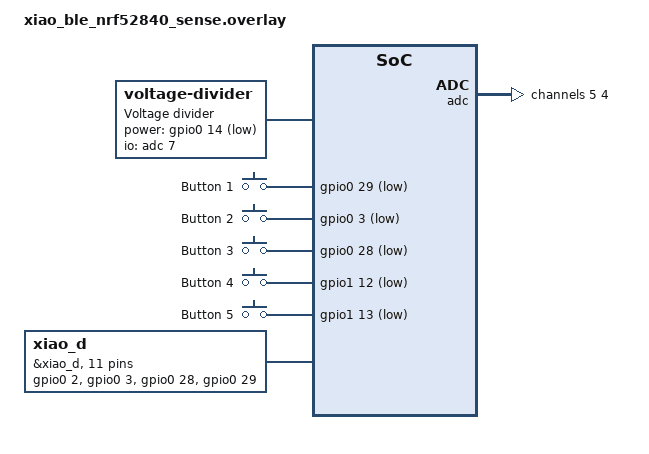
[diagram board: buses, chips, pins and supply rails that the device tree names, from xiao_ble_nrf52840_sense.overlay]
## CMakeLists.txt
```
#
# Copyright (c) 2018 Nordic Semiconductor
#
# SPDX-License-Identifier: LicenseRef-Nordic-5-Clause
#
cmake_minimum_required(VERSION 3.20.0)

find_package(Zephyr REQUIRED HINTS $ENV{ZEPHYR_BASE})
project(ToyRemote)

include_directories(${CMAKE_CURRENT_LIST_DIR}/../common)

# NORDIC SDK APP START
target_sources(app PRIVATE src/main.c
                           ../common/app_state.c
                           src/ble_modul.c
                           src/but_modul.c
                           ../common/haptic_modul.c
                           ../common/bat_measures_modul.c
                           ../common/battery.c
                           ../common/pwm_effects.c
                           )
# NORDIC SDK APP END
```

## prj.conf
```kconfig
#
# Copyright (c) 2019 Nordic Semiconductor ASA
#
# SPDX-License-Identifier: LicenseRef-Nordic-5-Clause
#
# --- Bluetooth (BLE) Only Configuration ---
CONFIG_BT=y
CONFIG_BT_CENTRAL=y
CONFIG_BT_DEVICE_NAME="ToyRemote_BLE"
CONFIG_BT_ZEPHYR_NUS=y
CONFIG_BT_NUS_CLIENT=y
CONFIG_BT_GATT_DM=y
CONFIG_BT_GATT_CLIENT=y
CONFIG_BT_SMP=y
CONFIG_BT_MAX_CONN=2
CONFIG_BT_CTLR_TX_PWR_PLUS_8=y
# --- Error handling ---
CONFIG_REBOOT=y
CONFIG_RESET_ON_FATAL_ERROR=y

# Use the standard SoftDevice controller
CONFIG_BT_LL_SOFTDEVICE=y

# Bluetooth Tuning for Data/Files
CONFIG_BT_USER_DATA_LEN_UPDATE=y
CONFIG_BT_CTLR_DATA_LENGTH_MAX=251
CONFIG_BT_BUF_ACL_RX_SIZE=251
CONFIG_BT_BUF_ACL_TX_SIZE=251
CONFIG_BT_L2CAP_TX_MTU=247

CONFIG_DK_LIBRARY=y

CONFIG_LOG=y
CONFIG_LOG_MODE_IMMEDIATE=y
CONFIG_LOG_MODE_DEFERRED=n
CONFIG_LOG_BUFFER_SIZE=2500
CONFIG_LOG_PROCESS_THREAD_STACK_SIZE=4048
CONFIG_MAIN_STACK_SIZE=4048
CONFIG_ADC=y
CONFIG_PWM=y

CONFIG_CBPRINTF_NANO=n
CONFIG_CBPRINTF_COMPLETE=y
CONFIG_CBPRINTF_FP_SUPPORT=y

CONFIG_BT_LOG_SNIFFER_INFO=y
```

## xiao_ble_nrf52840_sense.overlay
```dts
// To get started, press Ctrl+Space to bring up the completion menu and view the available nodes.

// You can also use the buttons in the sidebar to perform actions on nodes.
// Actions currently available include:

// * Enabling / disabling the node
// * Adding the bus to a bus
// * Removing the node
// * Connecting ADC channels

// For more help, browse the DeviceTree documentation at https://docs.zephyrproject.org/latest/guides/dts/index.html
// You can also visit the nRF DeviceTree extension documentation at https://docs.nordicsemi.com/bundle/nrf-connect-vscode/page/guides/ncs_configure_app.html#devicetree-support-in-the-extension

/ {
    aliases {
        adc0 = &adc;
    };

    vbatt {
    compatible = "voltage-divider";
    label = "Voltage divider";
    io-channels = <&adc 7>;
    output-ohms = <510000>;
    full-ohms =  <1510000>;
    power-gpios = <&gpio0 14 GPIO_ACTIVE_LOW>;
    };

    buttons {
             compatible = "gpio-keys";
             button0: button_0 {
                gpios = <&gpio0 29 (GPIO_ACTIVE_LOW | GPIO_PULL_UP)>;
                label = "Button 1";
             };
             button1: button_1 {
                gpios = <&gpio0 3 (GPIO_ACTIVE_LOW | GPIO_PULL_UP)>;
                label = "Button 2";
             };
             button2: button_2 {
                gpios = <&gpio0 28 (GPIO_ACTIVE_LOW | GPIO_PULL_UP)>;
                label = "Button 3";
             };
             button3: button_3 {
                gpios = <&gpio1 12 (GPIO_ACTIVE_LOW | GPIO_PULL_UP)>;
                label = "Button 4";
             };
             button4: button_4 {
                gpios = <&gpio1 13 (GPIO_ACTIVE_LOW | GPIO_PULL_UP)>;
                label = "Button 5";
             };
    };
};

&pwm0_default {
    group1 {
        psels = <NRF_PSEL(PWM_OUT0, 0, 2)>;
        /delete-property/ nordic,invert;
    };
};

&uart0_sleep {
    group1 {
        psels = <NRF_PSEL(UART_TX, 1, 11)>;
    };
};

&spi2_default {
    group1 {
        psels = <NRF_PSEL(SPIM_SCK, 1, 13)>,
                <NRF_PSEL(SPIM_MOSI, 1, 14)>,
                <NRF_PSEL(SPIM_MISO, 1, 15)>;
    };
};

&spi2_sleep {
    group1 {
        psels = <NRF_PSEL(SPIM_SCK, 1, 13)>,
                <NRF_PSEL(SPIM_MOSI, 1, 14)>,
                <NRF_PSEL(SPIM_MISO, 1, 15)>;
        /delete-property/ low-power-enable;
    };
};

&xiao_d {
    gpio-map = <0 0 &gpio0 2 0>,
               <1 0 &gpio0 3 0>,
               <2 0 &gpio0 28 0>,
               <3 0 &gpio0 29 0>,
               <4 0 &gpio0 4 0>,
               <5 0 &gpio0 5 0>,
               <6 0 &gpio1 11 0>,
               <7 0 &gpio1 12 0>,
               <8 0 &gpio1 13 0>,
               <9 0 &gpio1 14 0>,
               <10 0 &gpio1 15 0>;
};

&adc {
   #address-cells = <1>;
   #size-cells = <0>;

  channel@5 {
    reg = <5>;
    zephyr,gain = "ADC_GAIN_1_3";
    zephyr,reference = "ADC_REF_INTERNAL";
    zephyr,acquisition-time = <ADC_ACQ_TIME(ADC_ACQ_TIME_MICROSECONDS, 40)>;
    zephyr,input-positive = <NRF_SAADC_AIN3>;
    zephyr,resolution = <12>;
    zephyr,oversampling = <8>;
   };

  channel@4 {
    reg = <4>;
    zephyr,gain = "ADC_GAIN_1_3";
    zephyr,reference = "ADC_REF_INTERNAL";
    zephyr,acquisition-time = <ADC_ACQ_TIME(ADC_ACQ_TIME_MICROSECONDS, 40)>;
    zephyr,input-positive = <NRF_SAADC_AIN2>;
    zephyr,resolution = <12>;
    zephyr,oversampling = <8>;
   };

};
```

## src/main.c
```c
/*
 * Copyright (c) 2018 Nordic Semiconductor ASA
 *
 * SPDX-License-Identifier: LicenseRef-Nordic-5-Clause
 */
#include <nrf.h>
#include <zephyr/device.h>
#include <zephyr/devicetree.h>
#include <zephyr/kernel.h>
#include <zephyr/types.h>
#include <dk_buttons_and_leds.h>
#include <math.h>
/**/
#include <zephyr/logging/log.h>
LOG_MODULE_REGISTER(Main, CONFIG_LOG_DEFAULT_LEVEL);

#include "app_state.h"
#include "toy_utils.h"
#include "ble_modul.h"
#include "bat_measures_modul.h"
#include "haptic_modul.h"
#include "but_modul.h"

#define SYSSOUND_THREAD_PRIORITY 11
#define SYSSOUND_THREAD_STACK_SIZE 4092

#define SYSFBQ_LENGTH 16

K_THREAD_STACK_DEFINE(syssound_stack_area, SYSSOUND_THREAD_STACK_SIZE);
static struct k_thread syssound_thread_data;

K_MSGQ_DEFINE(sysfb_Q, sizeof(struct sys_ev), SYSFBQ_LENGTH, 4);

static void system_feedback_thread(void *arg1, void *arg2, void *arg3);

/*moduls for SD card support*/
#include <stdlib.h>
#include <zephyr/sys/util.h>

/*end of moduls for SD card support*/

enum GestureID {
	G_ROLL = 3,
	G_CIRCLE = 0,
	G_DROP = 1,
	G_IDLE = 2,
	G_SHAKE = 5,
	G_SPIN = 4,
};

const char *const g_names[] = {
	"G_CIRCLE",
	"G_DROP",
	"G_IDLE",
	"G_ROLL",
	"G_TAP",
	"G_SHAKE",
};

#define READ_INFO_PRIORITY 1
#define READ_INFO_THREAD_STACK_SIZE 4096

K_THREAD_STACK_DEFINE(readinfo_stack_area, READ_INFO_THREAD_STACK_SIZE);
static struct k_thread readinfo_thread_data;

void read_toy_info(void *arg1, void *arg2, void *arg3);

int main(void)
{
	int err;

	err = dk_leds_init();
	if (err) {
		LOG_ERR("LEDs initialization failed, err %d", err);
		return 0;
	}

	k_thread_create(&readinfo_thread_data, readinfo_stack_area,
		K_THREAD_STACK_SIZEOF(readinfo_stack_area),
		read_toy_info,
		NULL, NULL, NULL,
		READ_INFO_PRIORITY, 0, K_NO_WAIT);
	
	err = but_modul_init();
	if (err) {
		LOG_ERR("Button modul initialization failed, err %d", err);
		return err;
	}

	err = haptic_modul_init();
	if (err) {
		LOG_ERR("Audio Haptic modul initialization failed, err %d", err);
		return err;
	}
	
	err = bat_measure_modul_init();
	if (err) {
		LOG_ERR("Baterry measure modul initialization failed, err %d", err);
		return err;
	}
	
	k_thread_create(&syssound_thread_data, syssound_stack_area,
		K_THREAD_STACK_SIZEOF(syssound_stack_area),
		system_feedback_thread,
		NULL, NULL, NULL,
		SYSSOUND_THREAD_PRIORITY, 0, K_NO_WAIT);

	err = ble_modul_init();
	if (err) {
		LOG_ERR("BLE modul initialization failed, err %d", err);
		return 0;
	}

	LOG_INF("Initialization complete");
}

void read_toy_info(void *arg1, void *arg2, void *arg3) {

	//int ret;

	LOG_INF("Send gest thread init");
	
	/*struct esb_payload ping = {
		.pipe = 0,
		.noack = false,
		.length = PING_PKT_LEN,
		.data   = {PKT_PING}
	};*/

	//struct gest_ev g;

	/*while (1) {

		bool gesture_received = false;	//ping until gesture is detected

		while (!gesture_received) {
			esb_flush_tx(); // maby not necceserry (more like veary necceserry!!!!!)
			for (uint8_t i = 0; i < ARRAY_SIZE(addr_prefix); i++) {
				//LOG_INF("pinging prefix (\x1b[32m%u\x1b[0m)\t", addr_prefix[i]);
                esb_update_prefix(0,addr_prefix[i]);
                ret = esb_write_payload(&ping);
                k_sleep(K_MSEC(20));// wait for ack which should contain gesture
			}
			k_sleep(K_MSEC(PING_INTERVAL_MS));
		}

		// === Gesture recievd send gest
		if (g.cmd_id < 255) {
			LOG_INF("Recieved gesture %d Device prefix 0x%02X", g.cmd_id, g.pipeprefix);
		} else {
			LOG_ERR("Unknown gesture ID: %d", g.cmd_id);
		}
		k_sleep(K_MSEC(100)); //wait utnill all packets that might be neccessery to arrive
	}*/
}

static void system_feedback_thread(void *arg1, void *arg2, void *arg3) {
	LOG_INF("System feedback thread started");
	struct toy_events rx_event;
    while (true) {
        if(k_msgq_get(&sysfb_msgq, &rx_event, K_FOREVER) == 0) {
			switch (rx_event.type) {
				case MT_BAT_INF:
					break;
				case MT_CHARGING:
				case MT_CHARGED:
					struct toy_events tx_lra = {
						.type = MT_LRA,
						.payload.lra.effect = rx_event.payload.gest.type
					};
					k_msgq_put(&lra_msgq, &tx_lra, K_NO_WAIT);
				break;
				default:
					LOG_WRN("Unknown system feedback message received: %d", rx_event.type);
					break;
			}		
		}
    }
}
```

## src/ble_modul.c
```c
#include "ble_modul.h"
#include "toy_utils.h"
#include "app_state.h"

#include <zephyr/logging/log.h>
LOG_MODULE_REGISTER(BLE_modul, CONFIG_LOG_DEFAULT_LEVEL);

#include <zephyr/bluetooth/bluetooth.h>
#include <zephyr/bluetooth/hci.h>
#include <zephyr/bluetooth/conn.h>
#include <zephyr/bluetooth/uuid.h>
#include <zephyr/bluetooth/gatt.h>
#include <zephyr/bluetooth/services/nus.h>
#include <zephyr/bluetooth/services/nus/inst.h>
#include <bluetooth/services/nus_client.h>

#define BUT2BLE_Q_LENGHT 32
K_MSGQ_DEFINE(but2ble_q, sizeof(struct but_ev), BUT2BLE_Q_LENGHT, 4);

#define BT_UUID_NUS_VAL \
	BT_UUID_128_ENCODE(0x6e400001, 0xb5a3, 0xf393, 0xe0a9, 0xe50e24dcca9e)

static struct bt_uuid_128 nus_uuid = BT_UUID_INIT_128(BT_UUID_NUS_VAL);
#define BT_UUID_NUS &nus_uuid.uuid

#define DEVICE_NAME		CONFIG_BT_DEVICE_NAME
#define DEVICE_NAME_LEN		(sizeof(CONFIG_BT_DEVICE_NAME) - 1)

#define BT_THREAD_PRIORITY 8
#define BT_THREAD_STACK_SIZE 4096

K_THREAD_STACK_DEFINE(BT_stack_area, BT_THREAD_STACK_SIZE);
static struct k_thread BT_thread_data;

static void BT_thread(void *arg1, void *arg2, void *arg3);

static struct bt_conn *connected_toys[CONFIG_BT_MAX_CONN];
uint8_t connected_count = 0;
uint8_t act_toy_idx = 0;

// 1. Scanning Parameters
static bool data_cb(struct bt_data *data, void *user_data);
static struct bt_le_scan_param scan_param = {
    .type       = BT_LE_SCAN_TYPE_ACTIVE,
    .options    = BT_LE_SCAN_OPT_FILTER_DUPLICATE,
    .interval   = BT_GAP_SCAN_FAST_INTERVAL,
    .window     = BT_GAP_SCAN_FAST_WINDOW,
};

void stop_scan_handler();

int is_connected(const bt_addr_le_t *addr);

K_TIMER_DEFINE(scan_limit_timer, stop_scan_handler, NULL);
// 2. Connection Callbacks
static void device_found(const bt_addr_le_t *addr, int8_t rssi, uint8_t type,
			 struct net_buf_simple *ad);

static struct bt_nus_client nus_client[CONFIG_BT_MAX_CONN];

static uint8_t nus_client_received_cb(struct bt_nus_client *inst,
					const uint8_t *data, uint16_t len);

struct bt_nus_client_init_param init_param = { 
	.cb.received = nus_client_received_cb,
	.cb.sent = NULL,
	.cb.unsubscribed = NULL,
};

static void discovery_cb(struct bt_gatt_dm *dm, void *context);
static struct bt_gatt_dm_cb discovery_cb_data = {
    .completed         = discovery_cb,
    .service_not_found = NULL,
    .error_found       = NULL,
};

void connected(struct bt_conn *conn, uint8_t err);

void disconnected(struct bt_conn *conn, uint8_t reason);

BT_CONN_CB_DEFINE(conn_callbacks) = {
    .connected = connected,
    .disconnected = disconnected,
};

int get_free_con_idx();

int ble_modul_init(void){
    k_thread_create(&BT_thread_data, BT_stack_area,
                        K_THREAD_STACK_SIZEOF(BT_stack_area),
                        BT_thread,
                        NULL, NULL, NULL,
                        BT_THREAD_PRIORITY, 0, K_NO_WAIT);
    return 0;
}

static void BT_thread(void *arg1, void *arg2, void *arg3) {
	LOG_INF("Bluetooth theread has started");
	bt_enable(NULL);
	for (int i = 0; i < CONFIG_BT_MAX_CONN; i++) {
		int err = bt_nus_client_init(&nus_client[i], &init_param);
		if (err) {
			LOG_INF("Global NUS init failed for idx %d (err %d)\n", i, err);
		}
	}
	struct but_ev but_info;
	while(1) {
		if (k_msgq_get(&but2ble_q, &but_info, K_FOREVER) == 0) {
			switch (but_info.cmd) {
			case MT_CONNECT_TOY:
				if (connected_count < CONFIG_BT_MAX_CONN) {
					int err = bt_le_scan_start(&scan_param, device_found);
					if (err) {
						LOG_ERR("Scan start failed (err %d)", err);
					} else {
						LOG_INF("Searching toys for 20s...");
						k_timer_start(&scan_limit_timer, K_SECONDS(20), K_NO_WAIT);
					}
				} else {
					LOG_INF("All slots for toys occupied");
				}
				break;
			case MT_VOL_UP:
				LOG_INF("Recieved VOL_UP");
				break;
			case MT_VOL_DOWN:
				LOG_INF("Recieved VOL_DOWN");
				break;
			case MSG_TYPE_SOUNDSET:
				LOG_INF("Recieved SOUNDSET");
				break;
			case MSG_TYPE_TURNOFF:
				LOG_INF("Recieved TURNOFF");
				break;
			case MT_BT_DISCONNECT:
				LOG_INF("Recieved MT_BT_DISCONNECT");
				if (nus_client[act_toy_idx].conn != NULL) {
					int err = bt_conn_disconnect(nus_client[act_toy_idx].conn, 
												BT_HCI_ERR_REMOTE_USER_TERM_CONN);
					if (err) {
						LOG_ERR("Error during disconnect: %d", err);
					}
				}
				break;
			case MT_GEST:
				LOG_INF("Recieved MT_GEST");
				break;
			case MT_SWITCH_TOY:
				LOG_INF("Recieved MT_SWITCB_TOY");
				break;
			default:
				break;
			}
			if(nus_client[act_toy_idx].conn != NULL) {
				int err = bt_nus_client_send(&nus_client[act_toy_idx], (const uint8_t *)&but_info, sizeof(but_info));
				if (err) {
					LOG_INF("Error while transmiting: %d maby not end of discovery", err);
				} else {
					LOG_INF("Comand send to toy!");
				}
			} else {
				LOG_INF("No active NUS client please connect a device");
			}
		}
	}
}

static bool data_cb(struct bt_data *data, void *user_data)
{
    char *name = user_data;
    switch (data->type) {
    case BT_DATA_NAME_SHORTENED:
    case BT_DATA_NAME_COMPLETE:
        // Copy the name found in the data to our buffer
        size_t len = MIN(data->data_len, 30 - 1); // 30 is our name buffer size
        memcpy(name, data->data, len);
        name[len] = '\0';
        return false; // Stop parsing once name is found
    default:
        return true; // Continue parsing
    }
}

static void device_found(const bt_addr_le_t *addr, int8_t rssi, uint8_t type,
			 struct net_buf_simple *ad)
{
char addr_str[BT_ADDR_LE_STR_LEN];
    char name[30] = "Unknown";
	char name_toy[] = "Toy_BLE";
    bt_addr_le_to_str(addr, addr_str, sizeof(addr_str));

    bt_data_parse(ad, data_cb, name);

	if(strcmp(name, name_toy) != 0) {
        return;
    }

    LOG_INF("Scan Result: [Addr: %s] [RSSI: %d] [Name: %s]\n", 
           addr_str, rssi, name);
	int err;

	LOG_INF("Conection begin");

	if(is_connected(addr)){
		return;
	}

	int free_con_idx = get_free_con_idx();
	if (free_con_idx == -1)	{
		bt_le_scan_stop();
        k_timer_stop(&scan_limit_timer);
        return;
	}

	bt_le_scan_stop();

	LOG_INF("Free idx %d", free_con_idx);
	err = bt_conn_le_create(addr, // The pointer to the address you found
				BT_CONN_LE_CREATE_CONN, // Default connection type
				BT_LE_CONN_PARAM_DEFAULT, // Default timing/power params
				&connected_toys[free_con_idx]); // Pointer to store the connection handle	
	if (err) {
		LOG_INF("something went wrong during conection %d\n", err);
	}
}

static uint8_t nus_client_received_cb(struct bt_nus_client *inst,
					const uint8_t *data, uint16_t len) {
	uint8_t conn_idx = inst - nus_client;
	uint8_t other_conn = (conn_idx + 1) % CONFIG_BT_MAX_CONN;
    LOG_INF("MSG from toy with index: %d sending data to toy with index %d", conn_idx, other_conn);
	
	static uint8_t mirror_first_gest = 0xFF;
	static uint8_t mirror_first_toy = 0xFF;
	static int64_t mirror_timestamp = 0;
	
	struct toy_events *rx_event = (struct toy_events *)data;

	int err;
	switch (rx_event->type) {
		case MT_GEST:
			uint8_t gest_id = rx_event->payload.game.gest_id;
			uint8_t game_mode = rx_event->payload.game.mode;

			struct toy_events tx_gest = { 
				.type = MT_GEST,
				.len = sizeof(struct gest_ev),
				.payload.gest.type = gest_id,
			}; 
			if(game_mode == GAME_MODE_SWAPPED) {
				err = bt_nus_client_send(&nus_client[other_conn], &tx_gest, len);
				if(err) {
					LOG_INF("Wasnt able to send data to the other toy %d",err);
				}
			}

			if (game_mode == GAME_MODE_MIRROR) {
					int64_t now = k_uptime_get();

					if (mirror_first_gest != 0xFF && (now - mirror_timestamp > 5000)) {
						LOG_INF("Mirror timeout expired, resetting...");
						mirror_first_gest = 0xFF;
					}

					if (mirror_first_gest == 0xFF) {
						mirror_first_gest = gest_id;
						mirror_first_toy = conn_idx;
						mirror_timestamp = now;
						LOG_INF("First mirror gesture (%d) from toy %d. Waiting 5s...", gest_id, conn_idx);
					} 
					else {
						if (mirror_first_toy != conn_idx && mirror_first_gest == gest_id) {
							LOG_INF("Mirror MATCH! Sending sound to both toys.");
							
							bt_nus_client_send(&nus_client[conn_idx], &tx_gest, sizeof(tx_gest));
							bt_nus_client_send(&nus_client[other_conn], &tx_gest, sizeof(tx_gest));

							mirror_first_gest = 0xFF;
						} else if (mirror_first_toy == conn_idx) {
							mirror_timestamp = now; 
						} else {
							LOG_INF("Mirror MISMATCH (gest %d vs %d), still waiting...", mirror_first_gest, gest_id);
						}
					}
				}
			
			break;
		
		default:
			LOG_WRN("Unknown comand throwing away 0x%2x.\n", rx_event->type);
			break;
	}
	return BT_GATT_ITER_CONTINUE;
}

static void discovery_cb(struct bt_gatt_dm *dm, void *context) {
	int err;

	LOG_INF("Service discovery complete, looking for NUS charakteristic...\n");
	uint8_t conn_idx = bt_conn_index(bt_gatt_dm_conn_get(dm));
	LOG_INF("Assigning handles for idx %d", conn_idx);

	err = bt_nus_handles_assign(dm, &nus_client[conn_idx]);
	if (err) {
		LOG_INF("Unable to find NUS charakteristic (err %d)\n", err);
	} else {
		LOG_INF("NUS FOUND!\n");
		err = bt_nus_subscribe_receive(&nus_client[conn_idx]);
		if (err) {
			LOG_INF("Subscribe failed (err %d)\n", err);
		} else {
			LOG_INF("Subscribe was succesfull");
		}
	}
	if (connected_count < CONFIG_BT_MAX_CONN) {
        LOG_INF("Scanning for next toy...");
        bt_le_scan_start(&scan_param, device_found);
    }
	bt_gatt_dm_data_release(dm);
}

void connected(struct bt_conn *conn, uint8_t err) {
    if (err) {
        LOG_ERR("Connection failed (err %u)", err);
		if (connected_count < CONFIG_BT_MAX_CONN) {
            LOG_INF("Restarting scan after failed attempt...");
            bt_le_scan_start(&scan_param, device_found);
        }
        return;
    }

	uint8_t idx = bt_conn_index(conn);
    if (idx >= CONFIG_BT_MAX_CONN) {
        bt_conn_disconnect(conn, BT_HCI_ERR_REMOTE_USER_TERM_CONN);
        return;
    }

	connected_toys[idx] = bt_conn_ref(conn);
	connected_count++;
	LOG_INF("Connected toy n. %d", idx);
	err = bt_gatt_dm_start(conn, BT_UUID_NUS, &discovery_cb_data, NULL);
    if (err) {
        LOG_ERR("Discovery start failed (err %d)", err);
    }

	bt_conn_unref(conn);
}

void disconnected(struct bt_conn *conn, uint8_t reason) {
	uint8_t conn_idx = bt_conn_index(conn);
	LOG_INF("Disconnected toy n.%d (reason %u)", conn_idx,reason);
	
	bt_conn_unref(connected_toys[conn_idx]);
	connected_toys[conn_idx] = NULL;
	nus_client[conn_idx].conn = NULL;

	if (connected_count > 0) {
        connected_count--;
    }
}

int get_free_con_idx(){
	for (uint8_t i = 0; i < CONFIG_BT_MAX_CONN; i++) {
		if (connected_toys[i] == NULL) return i;
	}
	return -1;
}

void stop_scan_handler() {
	bt_le_scan_stop();
    LOG_INF("Scand automaticli terminated after 20s.");
}

int is_connected(const bt_addr_le_t *addr) {
	for (int i = 0; i < CONFIG_BT_MAX_CONN; i++) {
		if (connected_toys[i] != NULL) {
			if (bt_addr_le_cmp(bt_conn_get_dst(connected_toys[i]), addr) == 0) {
				LOG_INF("Already connected to this adress");
				return 1; 
			}
		}
    }
	return 0;
}
```

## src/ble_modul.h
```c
#ifndef BLE_MODULE_H_
#define BLE_MODULE_H_
#include <stdint.h>

extern struct k_msgq but2ble_q;

extern uint8_t connected_count;
extern uint8_t act_toy_idx;

int ble_modul_init(void);

#endif
```

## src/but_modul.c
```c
#include "but_modul.h"
#include "ble_modul.h"
#include "toy_utils.h"
#include "haptic_modul.h"

#include <zephyr/logging/log.h>
LOG_MODULE_REGISTER(but_modul, CONFIG_LOG_DEFAULT_LEVEL);

#include <zephyr/drivers/gpio.h>
#include <zephyr/device.h>
#include <zephyr/kernel.h>
#include <math.h>

/*modules for the Buttons*/
#define BUTTONS_NODE DT_PATH(buttons)
#define BUTTON_SPEC(node_id) GPIO_DT_SPEC_GET(node_id, gpios)

static const struct gpio_dt_spec buttons[] = {
    	DT_FOREACH_CHILD_SEP(BUTTONS_NODE, BUTTON_SPEC, (,))
};

#define BUTTON_COUNT ARRAY_SIZE(buttons)

static struct gpio_callback cb_data_p0; //Callback-data for channel 0 refers to gpio0
static struct gpio_callback cb_data_p1; //Callback-data for channel 1 refers ti goio1

#define DEBOUNCE_MS 1

void button_changed(const struct device *dev, struct gpio_callback *cb, uint32_t pins);

#define BUTTONS_PRIORITY 12
#define BUTTONS_THREAD_STACK_SIZE 4096

K_THREAD_STACK_DEFINE(buttons_stack_area, BUTTONS_THREAD_STACK_SIZE);
static struct k_thread buttons_thread_data;

volatile bool btn_pressed[5] = {false, false, false, false, false};

void read_buttons(void *arg1, void *arg2, void *arg3);

int but_modul_init(void) {
    k_thread_create(&buttons_thread_data, buttons_stack_area,
    K_THREAD_STACK_SIZEOF(buttons_stack_area),
    read_buttons,
    NULL, NULL, NULL,
    BUTTONS_PRIORITY, 0, K_NO_WAIT);
    return 0;
}

void read_buttons(void *arg1, void *arg2, void *arg3) {
    int ret;
    gpio_port_pins_t mask_gpio0 = 0;
    gpio_port_pins_t mask_gpio1 = 0;

    // Configure buttons as input with pull-up
	for (size_t i = 0; i < BUTTON_COUNT; i++) {
		if (!device_is_ready(buttons[i].port)) {
			LOG_ERR("Button device %s is not ready", buttons[i].port->name);
			return;
		}

		ret = gpio_pin_configure_dt(&buttons[i], GPIO_INPUT);
		if (ret){
			LOG_ERR("Something went wrong initilising gpio %d",ret);
			return;
		}

		ret = gpio_pin_interrupt_configure_dt(&buttons[i], GPIO_INT_EDGE_BOTH);
		if (ret){
			LOG_ERR("Something went wrong initilising gpio %d",ret);
			return;
		}

        if (buttons[i].port ==
            DEVICE_DT_GET(DT_NODELABEL(gpio0))) {

            mask_gpio0 |= BIT(buttons[i].pin);

        } else if (buttons[i].port ==
            DEVICE_DT_GET(DT_NODELABEL(gpio1))) {

            mask_gpio1 |= BIT(buttons[i].pin);
        }
	}

    // Set callback handlers
    gpio_init_callback(&cb_data_p0, button_changed, mask_gpio0);
    gpio_add_callback(DEVICE_DT_GET(DT_NODELABEL(gpio0)), &cb_data_p0);

    gpio_init_callback(&cb_data_p1, button_changed, mask_gpio1);
    gpio_add_callback(DEVICE_DT_GET(DT_NODELABEL(gpio1)), &cb_data_p1);

    LOG_INF("Buttons initialized");

    while (1) {
        k_sleep(K_MSEC(1000));
    }
}

void button_changed(const struct device *dev, struct gpio_callback *cb, uint32_t pins) {
	int index = -1;
    bool pressed = false;

	for (size_t i = 0; i < BUTTON_COUNT; i++) {
		if (pins & BIT(buttons[i].pin)) {
			index = i;
			pressed = gpio_pin_get(dev, buttons[i].pin);
			btn_pressed[i] = pressed;
			break;
		}
	}
	if (index == -1) return;

    static int64_t press_start[BUTTON_COUNT] = {0};
    int64_t now = k_uptime_get();
	struct but_ev button_msg; 
	struct toy_events tx_lra_e = {0};

	if (pressed) {
        press_start[index] = now; 
        LOG_INF("Button %d pressed", index + 1);
        
        tx_lra_e.type = MT_LRA;
        tx_lra_e.payload.lra.effect = CLICK_EFECT;
        k_msgq_put(&lra_msgq, &tx_lra_e, K_NO_WAIT);

    } else {
        if (press_start[index] == 0) return;

        int64_t duration = now - press_start[index];
        press_start[index] = 0;
        
        LOG_INF("Button %d released after %lld ms", index + 1, duration);

        if (duration >= 2000) {
            if (index == 0) button_msg.cmd = MT_G_MODE_CHANGE;
            else if (index == 1) button_msg.cmd = MT_BT_DISCONNECT;
            else if (index == 2) button_msg.cmd = MT_CONNECT_TOY;
            else return;

            LOG_INF("LONG PRESS detected");
            k_msgq_put(&but2ble_q, &button_msg, K_NO_WAIT);
        } 
        else {
            switch (index) {
                case 0: button_msg.cmd = MT_CHANGE_CATEGORY; break;
                case 1: button_msg.cmd = MT_LSM6DSL_ON; break;
                case 2:
                    act_toy_idx = (act_toy_idx + 1) % CONFIG_BT_MAX_CONN;
                    button_msg.cmd = MT_SWITCH_TOY;
                    break;
                case 3: button_msg.cmd = MT_VOL_UP; break;
                case 4: button_msg.cmd = MT_VOL_DOWN; break;
                default: return;
            }
            k_msgq_put(&but2ble_q, &button_msg, K_NO_WAIT);
        }
    }
}
```

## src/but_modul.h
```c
#ifndef BUT_MODULE_H_
#define BUT_MODULE_H_

int but_modul_init(void);

#endif
```
